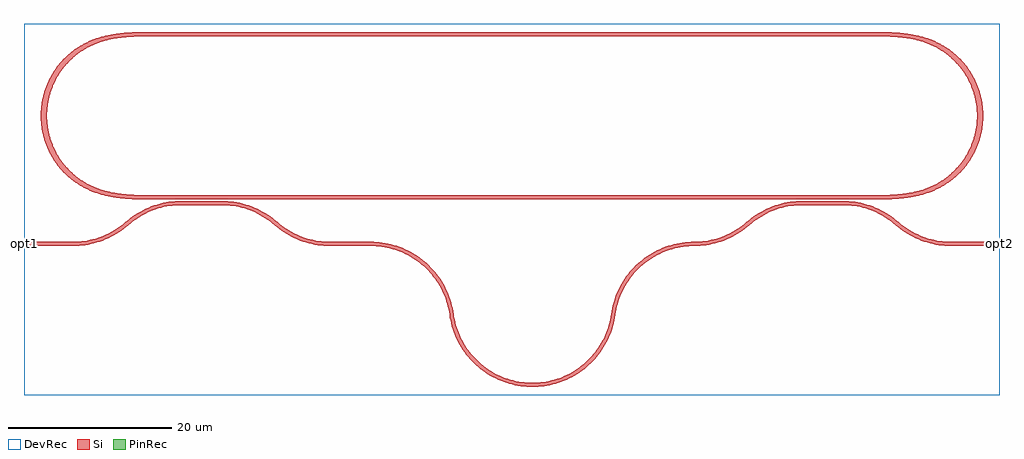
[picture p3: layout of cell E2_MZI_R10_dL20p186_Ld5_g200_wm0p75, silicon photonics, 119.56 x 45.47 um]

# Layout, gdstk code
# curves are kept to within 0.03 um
import gdstk
lib = gdstk.Library(unit=1e-6, precision=1e-09)
def R(c, l, rs):  # rectangles x0, y0, x1, y1
    for r in rs: c.add(gdstk.rectangle(r[:2], r[2:], *l))
def P(c, l, *ps):  # polygons
    for p in ps: c.add(gdstk.Polygon(p, *l))
Si = (1, 0)
PinRec = (1, 10)
DevRec = (68, 0)

c__e2ring_r10p000_lc85p084 = lib.new_cell('_E2ring_R10p000_Lc85p084_w0p500_wm0p750_tp30')
R(c__e2ring_r10p000_lc85p084, Si, [(-42.542,-10.25,42.542,-9.75), (-42.542,9.75,42.542,10.25)])
P(c__e2ring_r10p000_lc85p084, Si, [(-43.703,-10.25),(-46.688,-10.193),(-48.832,-9.976),(-49.808,-9.783),(-50.608,-9.565),(-51.39,-9.289),(-52.148,-8.954),(-53.011,-8.475),(-53.681,-8.02),(-54.433,-7.404),(-55.121,-6.719),(-55.74,-5.969),(-56.197,-5.301),(-56.673,-4.454),(-57.005,-3.715),(-57.322,-2.797),(-57.549,-1.852),(-57.682,-0.89),(-57.722,0.081),(-57.667,1.051),(-57.483,2.17),(-57.226,3.107),(-56.879,4.014),(-56.445,4.884),(-55.929,5.707),(-55.335,6.476),(-54.669,7.184),(-53.938,7.823),(-53.148,8.388),(-52.296,8.88),(-51.39,9.29),(-50.29,9.659),(-49.321,9.888),(-48.01,10.088),(-46.688,10.193),(-42.542,10.25),(-42.542,9.75),(-45.061,9.741),(-46.791,9.678),(-48.356,9.515),(-49.591,9.271),(-50.94,8.841),(-52.079,8.304),(-53.119,7.636),(-54.062,6.84),(-54.988,5.807),(-55.755,4.651),(-56.344,3.395),(-56.591,2.664),(-56.777,1.916),(-56.957,0.54),(-56.934,-0.847),(-56.71,-2.216),(-56.288,-3.538),(-55.972,-4.242),(-55.518,-5.048),(-55.082,-5.684),(-54.492,-6.398),(-53.95,-6.946),(-53.243,-7.543),(-52.611,-7.986),(-51.94,-8.379),(-51.086,-8.781),(-50.198,-9.101),(-49.131,-9.376),(-48.201,-9.537),(-46.005,-9.717),(-42.542,-9.75),(-42.542,-10.25)],
  [(42.542,-10.25),(42.542,-9.75),(45.218,-9.738),(46.791,-9.678),(48.201,-9.537),(49.438,-9.307),(50.348,-9.053),(51.231,-8.72),(52.079,-8.304),(52.868,-7.815),(53.836,-7.05),(54.595,-6.283),(55.263,-5.434),(55.902,-4.379),(56.344,-3.395),(56.71,-2.216),(56.902,-1.154),(56.972,-0.077),(56.902,1.155),(56.71,2.217),(56.398,3.25),(55.972,4.242),(55.435,5.179),(54.696,6.167),(53.95,6.946),(52.994,7.726),(52.216,8.227),(51.375,8.657),(50.497,9.004),(49.438,9.308),(48.045,9.559),(46.791,9.678),(45.061,9.741),(42.542,9.75),(42.542,10.25),(46.356,10.209),(48.504,10.026),(49.646,9.82),(50.608,9.565),(51.39,9.29),(52.296,8.88),(53.148,8.388),(53.938,7.823),(54.669,7.184),(55.335,6.476),(55.929,5.707),(56.445,4.884),(56.879,4.014),(57.226,3.107),(57.483,2.17),(57.648,1.212),(57.719,0.243),(57.695,-0.728),(57.577,-1.693),(57.366,-2.641),(57.064,-3.564),(56.673,-4.454),(56.282,-5.163),(55.74,-5.969),(55.121,-6.719),(54.552,-7.295),(53.938,-7.823),(53.148,-8.388),(52.296,-8.879),(51.543,-9.227),(50.608,-9.565),(49.808,-9.783),(48.01,-10.087),(45.859,-10.226)])

e2_mzi_r10_dl20p186_ld5_ = lib.new_cell('E2_MZI_R10_dL20p186_Ld5_g200_wm0p75')
R(e2_mzi_r10_dl20p186_ld5_, Si, [(-1,-0.25,0,0.25), (0,-0.25,5,0.25), (36.458,-0.25,41.458,0.25), (112.541,-0.25,117.541,0.25), (117.541,-0.25,118.541,0.25), (18.229,4.75,23.229,5.25), (94.313,4.75,99.313,5.25)])
P(e2_mzi_r10_dl20p186_ld5_, Si, [(61.271,-17.523),(61.271,-17.023),(61.952,-16.999),(62.967,-16.874),(63.963,-16.644),(64.612,-16.433),(65.553,-16.032),(66.447,-15.536),(67.284,-14.948),(67.805,-14.509),(68.295,-14.035),(68.965,-13.262),(69.55,-12.423),(69.889,-11.832),(70.187,-11.218),(70.551,-10.263),(70.813,-9.274),(70.93,-8.602),(71.425,-8.671),(71.223,-9.726),(71.027,-10.416),(70.644,-11.42),(70.158,-12.379),(69.779,-12.988),(69.134,-13.848),(68.402,-14.635),(67.87,-15.116),(67.306,-15.558),(66.405,-16.144),(65.448,-16.633),(64.783,-16.902),(64.101,-17.124),(63.054,-17.367),(61.987,-17.498)],
  [(61.271,-17.523),(60.554,-17.498),(59.487,-17.367),(58.44,-17.124),(57.758,-16.902),(57.094,-16.633),(56.136,-16.144),(55.529,-15.764),(54.671,-15.116),(54.139,-14.635),(53.407,-13.848),(52.762,-12.988),(52.383,-12.379),(52.048,-11.746),(51.63,-10.755),(51.319,-9.726),(51.116,-8.671),(51.612,-8.602),(51.728,-9.274),(51.99,-10.263),(52.222,-10.904),(52.652,-11.832),(52.992,-12.423),(53.577,-13.262),(54.246,-14.035),(54.736,-14.509),(55.53,-15.154),(56.387,-15.712),(57.298,-16.177),(57.93,-16.433),(58.578,-16.644),(59.574,-16.874),(60.589,-16.999),(61.271,-17.023)],
  [(112.541,-0.25),(111.432,-0.19),(110.699,-0.083),(109.619,0.175),(108.917,0.412),(107.901,0.86),(107.254,1.219),(106.334,1.843),(105.762,2.313),(106.092,2.688),(106.637,2.241),(107.511,1.648),(108.445,1.152),(109.094,0.88),(110.101,0.56),(110.789,0.409),(111.837,0.275),(112.541,0.25)],
  [(51.116,-8.671),(51,-7.999),(50.738,-7.01),(50.374,-6.055),(50.076,-5.441),(49.736,-4.85),(49.151,-4.011),(48.482,-3.238),(47.992,-2.764),(47.198,-2.119),(46.341,-1.561),(45.431,-1.096),(44.799,-0.84),(44.15,-0.629),(43.154,-0.399),(42.139,-0.274),(41.458,-0.25),(41.458,0.25),(42.531,0.194),(43.241,0.094),(44.288,-0.149),(45.304,-0.499),(45.959,-0.791),(46.899,-1.314),(47.779,-1.931),(48.327,-2.393),(49.086,-3.154),(49.761,-3.991),(50.345,-4.893),(50.831,-5.852),(51.318,-7.2),(51.612,-8.602)],
  [(36.458,-0.25),(35.348,-0.19),(34.616,-0.083),(33.535,0.175),(32.834,0.412),(31.817,0.86),(31.17,1.219),(30.549,1.624),(29.678,2.313),(30.008,2.688),(30.553,2.241),(31.428,1.648),(32.361,1.152),(33.01,0.88),(34.017,0.56),(34.705,0.409),(35.753,0.275),(36.458,0.25)],
  [(105.762,2.313),(104.933,2.967),(104.343,3.352),(103.409,3.848),(102.76,4.12),(101.753,4.44),(101.065,4.591),(100.017,4.725),(99.313,4.75),(99.313,5.25),(100.422,5.19),(101.518,5.01),(102.588,4.713),(103.619,4.301),(104.914,3.584),(106.092,2.688)],
  [(87.864,2.313),(87.533,2.688),(88.711,3.584),(90.006,4.301),(91.038,4.713),(92.108,5.01),(93.204,5.19),(94.313,5.25),(94.313,4.75),(93.609,4.725),(92.561,4.591),(91.873,4.44),(90.866,4.12),(90.216,3.848),(89.283,3.352),(88.693,2.967)],
  [(81.084,-0.25),(81.084,0.25),(81.788,0.275),(82.836,0.409),(83.524,0.56),(84.531,0.88),(85.181,1.152),(86.114,1.648),(86.988,2.241),(87.533,2.688),(87.864,2.313),(87.291,1.843),(86.372,1.219),(85.724,0.86),(84.708,0.412),(84.006,0.175),(82.926,-0.083),(82.193,-0.19)],
  [(29.678,2.313),(28.849,2.967),(28.259,3.352),(27.325,3.848),(26.676,4.12),(25.669,4.44),(24.981,4.591),(23.933,4.725),(23.229,4.75),(23.229,5.25),(24.338,5.19),(25.434,5.01),(26.504,4.713),(27.536,4.301),(28.83,3.584),(30.008,2.688)],
  [(11.78,2.313),(11.449,2.688),(12.627,3.584),(13.922,4.301),(14.954,4.713),(16.024,5.01),(17.12,5.19),(18.229,5.25),(18.229,4.75),(17.525,4.725),(16.477,4.591),(15.789,4.44),(14.782,4.12),(14.132,3.848),(13.199,3.352),(12.609,2.967)],
  [(71.425,-8.671),(70.93,-8.602),(71.224,-7.2),(71.711,-5.852),(72.197,-4.893),(72.78,-3.991),(73.455,-3.154),(74.214,-2.393),(75.049,-1.715),(75.643,-1.314),(76.263,-0.954),(77.237,-0.499),(78.253,-0.149),(79.301,0.094),(80.01,0.194),(81.084,0.25),(81.084,-0.25),(80.402,-0.274),(79.388,-0.399),(78.391,-0.629),(77.743,-0.84),(77.111,-1.096),(76.2,-1.561),(75.343,-2.119),(74.549,-2.764),(73.827,-3.488),(73.39,-4.011),(72.99,-4.564),(72.465,-5.441),(72.035,-6.369),(71.804,-7.01),(71.617,-7.666)],
  [(5,-0.25),(5,0.25),(5.704,0.275),(6.752,0.409),(7.44,0.56),(8.447,0.88),(9.097,1.152),(10.03,1.648),(10.904,2.241),(11.449,2.688),(11.78,2.313),(11.207,1.843),(10.288,1.219),(9.64,0.86),(8.624,0.412),(7.922,0.175),(6.842,-0.083),(6.109,-0.19)])
R(e2_mzi_r10_dl20p186_ld5_, DevRec, [(-1,-18.523,118.541,26.95)])
e2_mzi_r10_dl20p186_ld5_.add(gdstk.FlexPath([(118.531,0),(118.551,0)], 0.5, ends="flush", simple_path=True, layer=1, datatype=10))  # PinRec
e2_mzi_r10_dl20p186_ld5_.add(gdstk.FlexPath([(-0.99,0),(-1.01,0)], 0.5, ends="flush", simple_path=True, layer=1, datatype=10))  # PinRec
e2_mzi_r10_dl20p186_ld5_.add(gdstk.Reference(c__e2ring_r10p000_lc85p084, (58.771,15.7)))
e2_mzi_r10_dl20p186_ld5_.add(gdstk.Label('opt2', (118.541,0), layer=1, texttype=10))
e2_mzi_r10_dl20p186_ld5_.add(gdstk.Label('opt1', (-1,0), layer=1, texttype=10))

lib.write_gds('E2_MZI_R10_dL20p186_Ld5_g200_wm0p75.gds')
